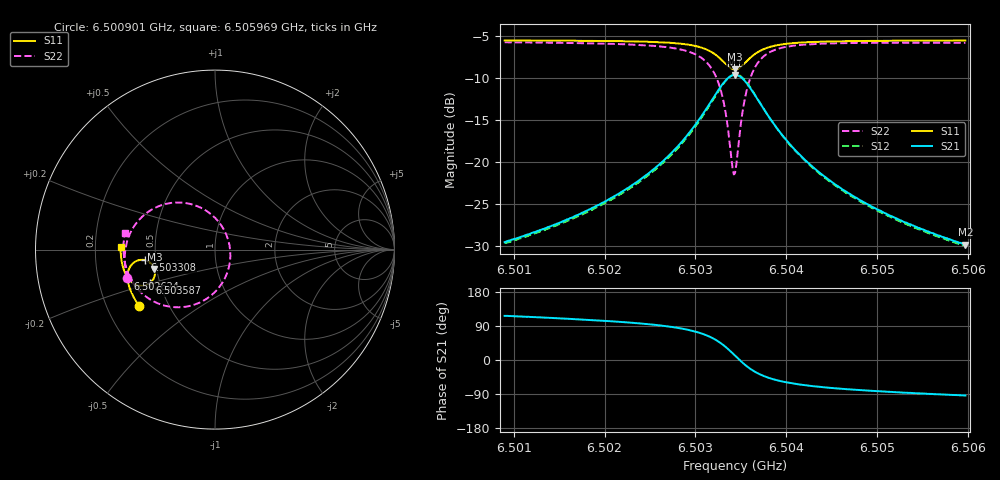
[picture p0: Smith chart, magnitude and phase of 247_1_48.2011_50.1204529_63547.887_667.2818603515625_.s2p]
#  HZ  S  RI  R  50.00
! Rohde & Schwarz Vector Network Analyzer
! Rohde-Schwarz,ZNB20-2Port,1311601062101988,3.16
! Created: UTC 3/20/2024, 11:47:05 AM
! freq[Hz]  re:S11  im:S11  re:S21  im:S21  re:S12  im:S12  re:S22  im:S22
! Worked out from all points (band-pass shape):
!   401 points, 6.500901 GHz to 6.505969 GHz, reference 50 ohm
!   highest |S21| = -9.67 dB at 6.503435 GHz (marker M1); lowest = -29.9 dB at 6.505969 GHz (marker M2)
!   |S21| within 3 dB of the highest: 6.503181 GHz to 6.503688 GHz (507.1 kHz wide, 0.0078 % of centre)
!   lowest |S11| = -9.0 dB at 6.503435 GHz (marker M3), VSWR 2.10, Z = 24.3 - j5.98 ohm
!   |S11| at or under -10 dB: nowhere
!   |S22| runs from -21.5 to -5.8 dB; largest |S21 - S12| = 0.012
!   S11 on the Smith chart (normalised r, x): 6.500901 GHz: 0.34, -0.29; 6.502624 GHz: 0.33, -0.15; 6.503308 GHz: 0.44, -0.06; 6.503587 GHz: 0.44, -0.20; 6.505969 GHz: 0.31, +0.01
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6.5009008e9  -0.424 -0.3124  -0.0149 0.0298  -0.0133 0.03  -0.4886 -0.1586
6.5017498e9  -0.4608 -0.2501  -0.0142 0.0475  -0.0119 0.047  -0.5025 -0.0691
6.5022186e9  -0.4774 -0.2087  -0.0115 0.0667  -0.00856 0.0657  -0.4998 -0.00299
6.5025988e9  -0.4866 -0.1671  -0.00265 0.096  0.00114 0.0938  -0.4808 0.0723
6.5026241e9  -0.4869 -0.1638  -0.00133 0.0986  0.00225 0.0963  -0.4783 0.0785
6.5029155e9  -0.4832 -0.1191  0.0257 0.1426  0.0295 0.1381  -0.4216 0.1675
6.5031056e9  -0.4621 -0.081  0.0798 0.1844  0.0822 0.1783  -0.3183 0.2401
6.5032197e9  -0.4296 -0.0604  0.1488 0.202  0.1497 0.1958  -0.194 0.2621
6.5033084e9  -0.3892 -0.0587  0.2282 0.1856  0.2286 0.1806  -0.0569 0.2216
6.5033464e9  -0.37 -0.0664  0.2644 0.1625  0.2652 0.1579  0.00293 0.1743
6.5034097e9  -0.3434 -0.0931  0.312 0.0985  0.3145 0.0935  0.0744 0.0509
6.5034351e9  -0.3372 -0.1076  0.3219 0.0661  0.3252 0.0604  0.0849 -0.00922
6.5034604e9  -0.3342 -0.1233  0.3254 0.0326  0.3289 0.0255  0.0828 -0.0706
6.5035238e9  -0.3415 -0.1604  0.3071 -0.0451  0.309 -0.0551  0.0265 -0.2054
6.5035871e9  -0.3627 -0.1863  0.2641 -0.0991  0.263 -0.1103  -0.0702 -0.2877
6.5036885e9  -0.4021 -0.2015  0.1894 -0.1349  0.1841 -0.1444  -0.2202 -0.3212
6.5038532e9  -0.4481 -0.1917  0.1081 -0.1317  0.1012 -0.1367  -0.3669 -0.2743
6.5040306e9  -0.4755 -0.1704  0.0638 -0.1116  0.0574 -0.1138  -0.4387 -0.2095
6.5042841e9  -0.4962 -0.1404  0.0339 -0.0875  0.029 -0.0879  -0.4818 -0.1374
6.5046515e9  -0.5114 -0.1022  0.0153 -0.0649  0.012 -0.0645  -0.5038 -0.0647
6.5051331e9  -0.5212 -0.0577  0.00513 -0.0476  0.00273 -0.0472  -0.5102 0.00315
6.5059694e9  -0.5259 0.0131  -0.00206 -0.032  -0.00344 -0.0313  -0.5021 0.0912
